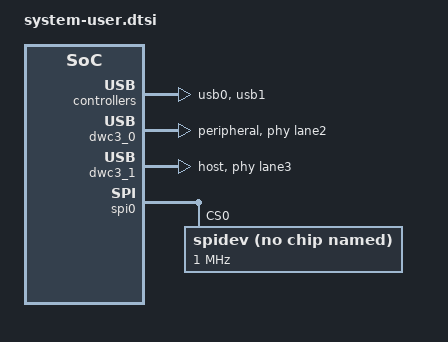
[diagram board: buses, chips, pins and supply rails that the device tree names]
/include/ "system-conf.dtsi"
/ {
};

&amba {
    zyxclmm_drm {
        compatible = "xlnx,zocl";
        status = "okay";
    };
};

/* SD0 only supports 3.3V, no level shifter */
&sdhci0 {
	no-1-8-v;
	disable-wp;
};

&usb0 {
    status = "okay";
};

&dwc3_0 {
    status = "okay";
    dr_mode = "peripheral";
    phy-names = "usb3-phy";
    phys = <&lane2 4 0 0 26000000>;
    maximum-speed = "super-speed";   
};

&usb1 {
    status = "okay";
};

&dwc3_1 {
    status = "okay";
    dr_mode = "host";
    phy-names = "usb3-phy";
    phys = <&lane3 4 1 0 26000000>;
    maximum-speed = "super-speed";
};

&spi0 {
    is-decoded-cs = <0>;
    num-cs = <1>;
    status = "okay";
    spidev@0x00 {
        compatible = "rohm,dh2228fv";
        spi-max-frequency = <1000000>;
        reg = <0>;
    };
};

